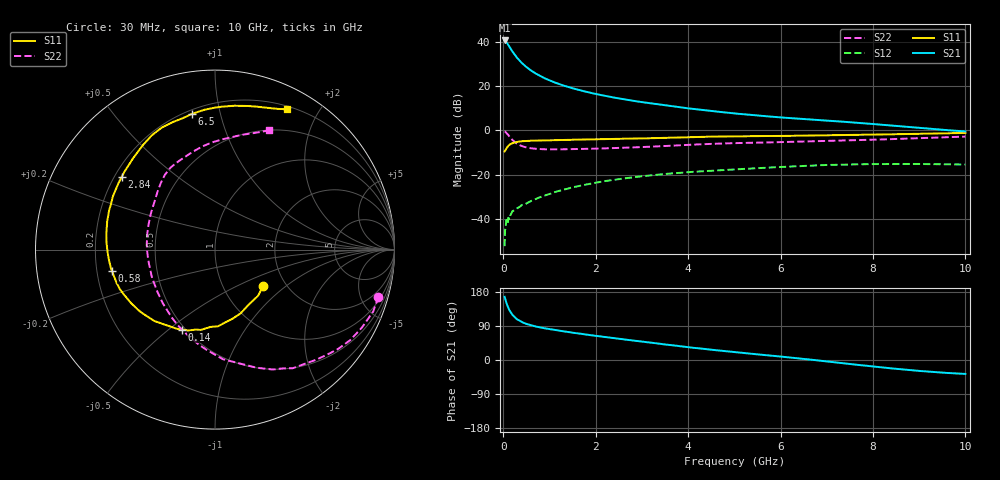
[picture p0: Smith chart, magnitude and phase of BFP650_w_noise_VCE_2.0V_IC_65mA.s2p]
! Infineon Technologies  Discrete & RF Semiconductors
! BFP650
! VCE =  2.0 V,  IC =  65 mA
! Common Emitter S-Parameters:  Jan 2016
# GHz  S  MA  R  50
!  f  S11  S21  S12  S22
! GHz  MAG  ANG  MAG  ANG  MAG  ANG  MAG  ANG
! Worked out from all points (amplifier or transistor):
!   229 points, 30 MHz to 10 GHz, reference 50 ohm
!   highest |S21| = 40.5 dB at 30 MHz (marker M1)
!   |S21| within 3 dB of that: start of sweep to 139.1 MHz
!   unconditionally stable (mu >= 1): 1.611 GHz to end of sweep
!   at 280 MHz: K = 0.54, MSG = 34.3 dB, |S12| = -35.3 dB
!   at 1.78 GHz: K = 1.01, MAG = 20.3 dB, |S12| = -24.4 dB
!   at 10 GHz: K = 1.03, MAG = 6.4 dB, |S12| = -15.3 dB
!   lowest NFmin = 1.11 dB at 450 MHz
!   S11 on the Smith chart (normalised r, x): 30 MHz: 1.54, -0.70; 140 MHz: 0.48, -0.56; 580 MHz: 0.26, -0.09; 2.84 GHz: 0.23, +0.33; 6.5 GHz: 0.22, +0.82; 10 GHz: 0.23, +1.61
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0.03  0.3362 -37.2  106 166.8  0.0025 88.3  0.9479 -16.1
0.04  0.3517 -46.9  104.8 162.3  0.0059 83.3  0.9465 -21.4
0.05  0.3601 -58.8  101.7 157.9  0.0061 63.3  0.9265 -28.0
0.06  0.3827 -68.1  100.1 154.3  0.0082 53.1  0.9067 -33.8
0.08  0.4108 -82.4  93.8 146.8  0.0093 63.4  0.8565 -43.1
0.11  0.4537 -99.8  84.11 137.6  0.0109 69.6  0.79 -56.8
0.14  0.4828 -112.6  74.76 130.2  0.0111 63.7  0.7167 -67.7
0.2  0.5216 -130.2  59.68 118.9  0.0154 57.9  0.6127 -85.8
0.26  0.5438 -141.6  48.85 111.4  0.0164 52.7  0.5374 -99.6
0.3  0.5543 -147.3  43.14 107.4  0.0178 52.7  0.5021 -107.4
0.4  0.5741 -157.4  33.19 100.3  0.0211 54.6  0.448 -122.7
0.58  0.587 -168.5  23.26 92.4  0.0252 55.5  0.4013 -141.5
0.8  0.5973 -177.3  16.78 85.8  0.0317 58.0  0.3832 -157.0
1  0.6056 176.8  13.39 81.4  0.0371 57.4  0.3766 -166.8
1.7  0.6257 161.4  7.845 68.8  0.0584 53.5  0.3838 170.6
2.84  0.6589 142.1  4.608 50.8  0.0892 42.8  0.4175 146.8
3.4  0.6783 133.6  3.805 42.7  0.1029 36.8  0.4424 137.9
5.1  0.7426 112.5  2.369 19.8  0.1348 19.7  0.5223 117.1
6.5  0.767 99.6  1.815 2.8  0.1594 6.0  0.564 101.2
6.8  0.7746 96.5  1.728 -1.0  0.1642 2.5  0.573 98.5
8.4  0.8208 77.1  1.294 -22.1  0.1762 -15.2  0.6392 80.4
10  0.8799 62.8  0.95 -36.8  0.1712 -28.0  0.7292 65.8
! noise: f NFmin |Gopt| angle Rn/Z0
0.45  1.11  0.47  -171  0.06
0.9  1.13  0.48  -166  0.06
1.9  1.27  0.5  -151  0.07
2.4  1.35  0.48  -142  0.09
3.5  1.56  0.5  -118  0.16
